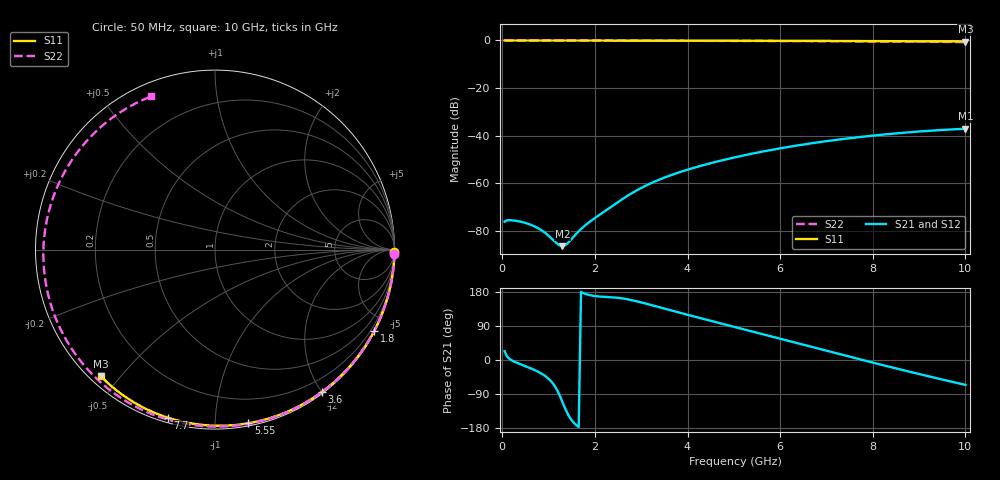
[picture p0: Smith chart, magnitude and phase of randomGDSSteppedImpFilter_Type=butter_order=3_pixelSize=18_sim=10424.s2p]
! freq	dB(S11)	phase(S11)	dB(S12)	phase(S12)
!  dB(S21)	phase(S21)	dB(S22)	phase(S22)
!S-par simulation data
#  GHz  S  DB  R 50
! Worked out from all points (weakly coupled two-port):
!   200 points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, 50 MHz to 10 GHz, reference 50 ohm
!   highest |S21| = -37.14 dB at 10 GHz (marker M1); lowest = -86.5 dB at 1.3 GHz (marker M2)
!   lowest |S11| = -0.4 dB at 10 GHz (marker M3), VSWR 38.96, Z = 1.54 - j22.2 ohm
!   |S11| at or under -10 dB: nowhere
!   |S22| runs from -0.7 to 0.0 dB; largest |S21 - S12| = 0
!   S11 on the Smith chart (normalised r, x): 50 MHz: open; 1.8 GHz: 0.04, -4.15; 3.6 GHz: 0.02, -2.01; 5.55 GHz: 0.02, -1.21; 7.7 GHz: 0.02, -0.76; 10 GHz: 0.03, -0.44
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0.05  -0.00 -0.8  -76.26 23.3  -76.26 23.3  -0.00 -1.3
0.15  -0.00 -2.3  -75.61 3.4  -75.61 3.4  -0.00 -3.9
0.4  -0.00 -6.1  -76.26 -11.5  -76.26 -11.5  -0.01 -10.5
0.65  -0.01 -9.9  -77.82 -23.9  -77.82 -23.9  -0.02 -16.9
0.85  -0.01 -12.9  -79.91 -36.2  -79.91 -36.2  -0.02 -22.1
1.3  -0.02 -19.7  -86.55 -111.2  -86.55 -111.2  -0.04 -33.6
1.65  -0.03 -24.9  -80.28 -176.7  -80.28 -176.7  -0.05 -42.4
1.75  -0.03 -26.4  -78.46 176.7  -78.46 176.7  -0.06 -44.9
1.8  -0.03 -27.1  -77.64 174.3  -77.64 174.3  -0.06 -46.1
2.75  -0.05 -40.9  -64.80 159.1  -64.80 159.1  -0.09 -69.2
3.4  -0.07 -50.2  -58.47 139.0  -58.47 139.0  -0.11 -84.5
3.6  -0.07 -53.0  -56.97 132.4  -56.97 132.4  -0.12 -89.1
4.3  -0.09 -62.6  -52.67 109.8  -52.67 109.8  -0.15 -104.9
5.05  -0.11 -72.6  -49.06 86.0  -49.06 86.0  -0.18 -121.5
5.55  -0.13 -79.1  -47.02 70.2  -47.02 70.2  -0.22 -132.5
6.15  -0.15 -86.7  -44.89 51.1  -44.89 51.1  -0.26 -145.8
6.7  -0.18 -93.6  -43.20 33.7  -43.20 33.7  -0.30 -158.2
7.2  -0.21 -99.6  -41.85 17.9  -41.85 17.9  -0.35 -169.7
7.7  -0.24 -105.6  -40.68 2.3  -40.68 2.3  -0.40 178.3
8.35  -0.29 -113.2  -39.37 -17.6  -39.37 -17.6  -0.47 161.7
9.15  -0.36 -122.5  -38.09 -41.4  -38.09 -41.4  -0.57 139.4
10  -0.45 -132.1  -37.14 -65.6  -37.14 -65.6  -0.68 112.5
